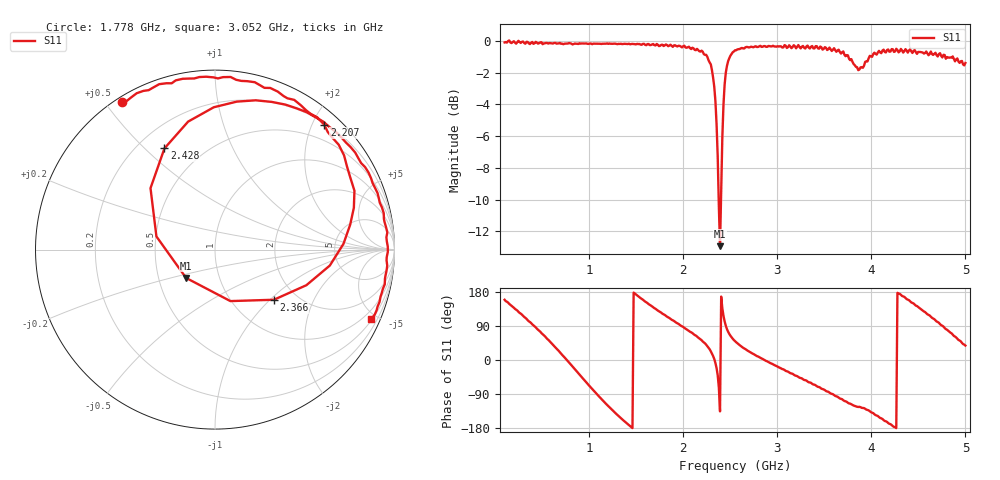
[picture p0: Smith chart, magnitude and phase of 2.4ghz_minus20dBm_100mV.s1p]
!Agilent Technologies,E8362C,MY49020251,A.08.50.10
!Agilent E8362C: A.08.50.10
!Date: Tuesday, May 17, 2016 04:37:11
!Correction: S11(Full 1 Port(1))
!S1P File: Measurement: S11:
# Hz S  dB  R 50
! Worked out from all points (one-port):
!   401 points, 100 MHz to 5 GHz, reference 50 ohm
!   lowest |S11| = -12.9 dB at 2.391 GHz (marker M1), VSWR 1.58, Z = 34.6 - j11.5 ohm
!   |S11| at or under -10 dB: 2.377 GHz to 2.401 GHz (24.6 MHz wide, 1.03 % of centre)
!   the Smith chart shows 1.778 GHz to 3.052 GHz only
!   S11 on the Smith chart (normalised r, x): 1.778 GHz: 0.02, +0.55; 2.207 GHz: 0.23, +2.18; 2.366 GHz: 1.54, -1.06; 2.428 GHz: 0.31, +0.58; 3.052 GHz: 0.56, -4.66
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1e8  -0.10 158.9
2.715e8  -0.13 122.4
4.185e8  -0.15 89.1
5.5325e8  -0.14 55.6
7.125e8  -0.17 13.4
8.595e8  -0.18 -27.8
1.031e9  -0.21 -76.4
1.16575e9  -0.17 -112.4
1.325e9  -0.19 -150.7
1.521e9  -0.20 168.3
1.77825e9  -0.24 122.2
1.9375e9  -0.35 96.9
2.207e9  -0.68 48.8
2.31725e9  -2.32 10.4
2.36625e9  -7.31 -40.4
2.39075e9  -12.94 -135.6
2.4275e9  -4.01 116.5
2.46425e9  -1.58 81.6
2.55e9  -0.59 49.8
2.75825e9  -0.36 14.2
3.05225e9  -0.42 -23.9
3.1625e9  -0.39 -36.5
3.49325e9  -0.50 -77.7
3.775e9  -1.22 -115.2
4.0445e9  -0.81 -145.4
4.3875e9  -0.74 159.3
4.706e9  -0.98 100.2
5e9  -1.39 38.1
